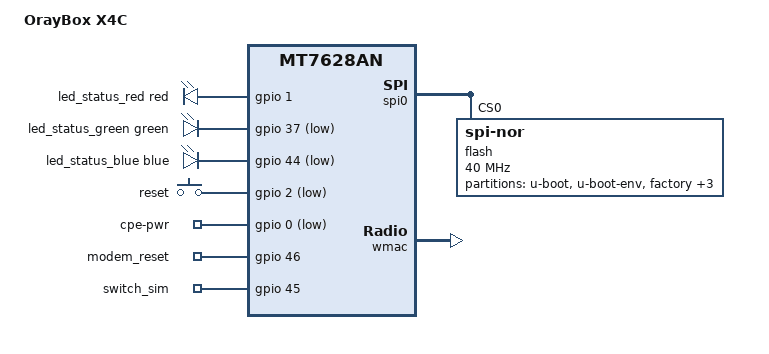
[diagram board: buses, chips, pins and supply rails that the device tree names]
// SPDX-License-Identifier: GPL-2.0-or-later

#include "mt7628an.dtsi"

#include <dt-bindings/gpio/gpio.h>
#include <dt-bindings/input/input.h>
#include <dt-bindings/leds/common.h>

/ {
	compatible = "oraybox,x4c", "mediatek,mt7628an-soc";
	model = "OrayBox X4C";

	aliases {
		led-boot = &led_status_green;
		led-failsafe = &led_status_red;
		led-running = &led_status_green;
		led-upgrade = &led_status_blue;
	};

	chosen {
		bootargs = "console=ttyS0,115200";
	};

	leds {
		compatible = "gpio-leds";

		led_status_red: status-red {
			function = LED_FUNCTION_STATUS;
			color = <LED_COLOR_ID_RED>;
			gpios = <&gpio 1 GPIO_ACTIVE_HIGH>;
		};

		led_status_green: status-green {
			function = LED_FUNCTION_STATUS;
			color = <LED_COLOR_ID_GREEN>;
			gpios = <&gpio 37 GPIO_ACTIVE_LOW>;
		};

		led_status_blue: status-blue {
			function = LED_FUNCTION_STATUS;
			color = <LED_COLOR_ID_BLUE>;
			gpios = <&gpio 44 GPIO_ACTIVE_LOW>;
		};
	};

	keys {
		compatible = "gpio-keys";

		reset {
			label = "reset";
			gpios = <&gpio 2 GPIO_ACTIVE_LOW>;
			linux,code = <KEY_RESTART>;
		};
	};

	gpio-export {
		compatible = "gpio-export";

		modem_power {
			gpio-export,name = "cpe-pwr";
			gpio-export,output = <0x00>;
			gpios = <&gpio 0 GPIO_ACTIVE_LOW>;
		};

		modem_reset {
			gpio-export,name = "modem_reset";
			gpio-export,output = <0x00>;
			gpios = <&gpio 46 GPIO_ACTIVE_HIGH>;
		};

		switch_sim {
			gpio-export,name = "switch_sim";
			gpio-export,output = <0x00>;
			gpios = <&gpio 45 GPIO_ACTIVE_HIGH>;
		};
	};
};

&spi0 {
	status = "okay";

	flash@0 {
		compatible = "jedec,spi-nor";
		reg = <0>;
		spi-max-frequency = <40000000>;

		partitions {
			compatible = "fixed-partitions";
			#address-cells = <1>;
			#size-cells = <1>;

			partition@0 {
				label = "u-boot";
				reg = <0x0 0x30000>;
				read-only;
			};

			partition@30000 {
				label = "u-boot-env";
				reg = <0x30000 0x10000>;
				read-only;
			};

			partition@40000 {
				label = "factory";
				reg = <0x40000 0x10000>;
				read-only;
			};

			partition@50000 {
				compatible = "denx,uimage";
				label = "firmware";
				reg = <0x50000 0xf90000>;
			};

			partition@fe0000 {
				label = "bdinfo";
				reg = <0xfe0000 0x10000>;
				read-only;

				nvmem-layout {
					compatible = "fixed-layout";
					#address-cells = <1>;
					#size-cells = <1>;

					macaddr_bdinfo_9: macaddr@9 {
						reg = <0x9 0x6>;
					};
				};
			};

			partition@ff0000 {
				label = "reserve";
				reg = <0xff0000 0x10000>;
				read-only;
			};
		};
	};
};

&state_default {
	gpio {
		groups = "jtag", "wdt";
		function = "gpio";
	};
};

&ethernet {
	nvmem-cells = <&macaddr_bdinfo_9>;
	nvmem-cell-names = "mac-address";
};

&wmac {
	status = "okay";
};
